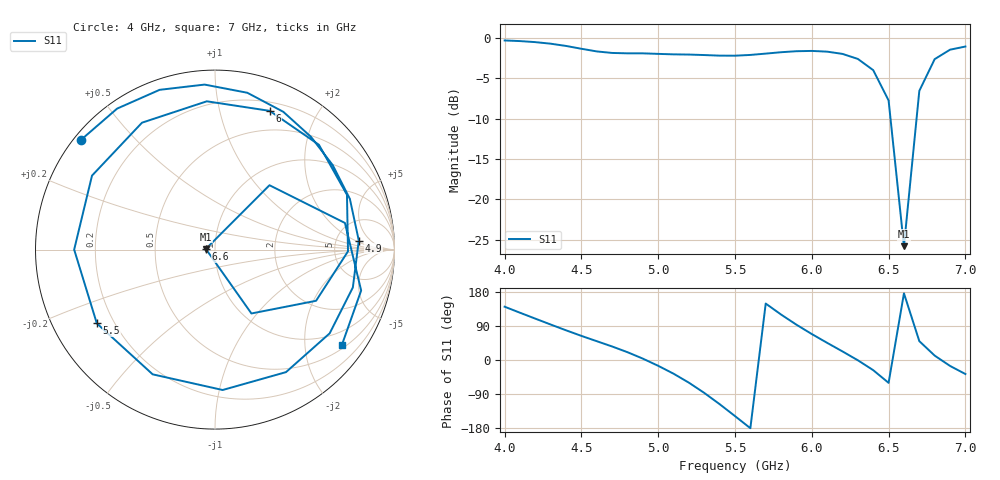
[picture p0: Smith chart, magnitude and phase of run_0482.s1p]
! Touchstone file exported from HFSS 2024.2.0
!  File:  C:/Users/wsak9/Desktop/Sim Fast/Widenad Patch/WP_AI_V1_sweep.aedt
!  Generated:  12:08:48 PM Oct 14, 2026
!  Design:  A1_model
!  Project:  WP_AI_V1_sweep
!  Setup:  Setup1
!  Solution:  Sweep
! Variables:
!  Air_gap = 2.98mm
!  Curve_Amp1 = 2.34
!  Curve_len1 = 1
!  Curve_pos = 9.635mm
!  Extra = 6.32mm
!  H_sub = 0.79mm
!  L_Patch = 15.27mm
!  L_Patch1 = 17.61mm
!  Sx = 1.01mm
!  Sy = 1.16mm
!  WS = 1.1mm
!  W_Patch = 18.48mm
!  W_Patch1 = 11.29mm
!Data is not renormalized
# GHz S MA
! Terminal data exported
! Port[1] = 1
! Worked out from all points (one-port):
!   31 points, 4 GHz to 7 GHz, reference per port
!   lowest |S11| = -25.8 dB at 6.6 GHz (marker M1), VSWR 1.11
!   |S11| at or under -10 dB: 6.512 GHz to 6.682 GHz (169.7 MHz wide, 2.57 % of centre)
!   S11 on the Smith chart (normalised r, x): 4 GHz: 0.02, +0.36; 4.9 GHz: 8.45, +2.40; 5.5 GHz: 0.14, -0.28; 6 GHz: 0.29, +1.43; 6.6 GHz: 0.90, +0.01; 7 GHz: 0.59, -2.88
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4  0.9648 140.6
4.2  0.9421 109.1
4.3  0.9212 93.6
4.4  0.8922 78.3
4.6  0.8251 49.6
4.8  0.8028 20.6
4.9  0.8027 3.6
5  0.7965 -15.3
5.1  0.7912 -36.1
5.2  0.7889 -59.9
5.3  0.7834 -86.9
5.4  0.7769 -116.6
5.5  0.7762 -148.0
5.6  0.7846 -180.0
5.7  0.7997 149.0
5.8  0.8157 119.9
5.9  0.8275 93.2
6  0.831 68.5
6.1  0.8224 45.2
6.2  0.7962 22.6
6.3  0.7411 -0.7
6.4  0.6312 -26.9
6.5  0.4097 -60.3
6.6  0.05115 175.9
6.7  0.4699 49.8
6.8  0.7389 11.6
6.9  0.8456 -15.6
7  0.8847 -37.0
